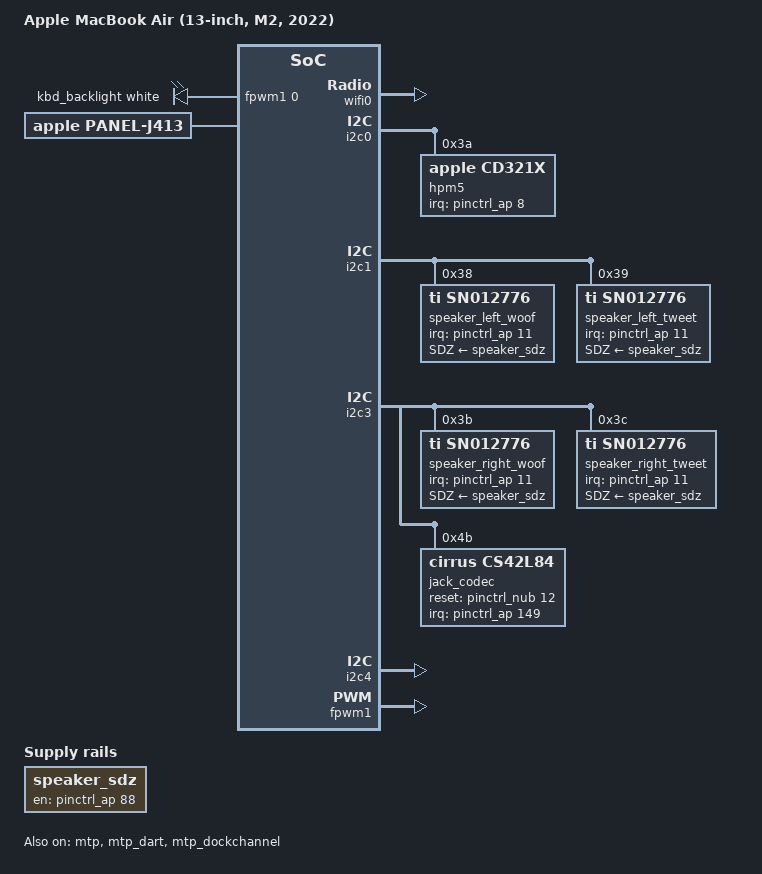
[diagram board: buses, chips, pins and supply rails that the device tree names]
// SPDX-License-Identifier: GPL-2.0+ OR MIT
/*
 * Apple MacBook Air (M2, 2022)
 *
 * target-type: J413
 *
 * Copyright The Asahi Linux Contributors
 */

/dts-v1/;

#include "t8112.dtsi"
#include "t8112-jxxx.dtsi"
#include <dt-bindings/leds/common.h>

/ {
	compatible = "apple,j413", "apple,t8112", "apple,arm-platform";
	model = "Apple MacBook Air (13-inch, M2, 2022)";

	aliases {
		bluetooth0 = &bluetooth0;
		wifi0 = &wifi0;
		keyboard = &keyboard;
	};

	led-controller {
		compatible = "pwm-leds";
		led-0 {
			pwms = <&fpwm1 0 40000>;
			label = "kbd_backlight";
			function = LED_FUNCTION_KBD_BACKLIGHT;
			color = <LED_COLOR_ID_WHITE>;
			max-brightness = <255>;
			default-state = "keep";
		};
	};
};

&dcp {
	panel: panel {
		compatible = "apple,panel-j413", "apple,panel";
		width-mm = <290>;
		height-mm = <189>;
		adj-height-mm = <181>;
		apple,max-brightness = <525>;
	};
};

&framebuffer0 {
	panel = &panel;
};

/*
 * Force the bus number assignments so that we can declare some of the
 * on-board devices and properties that are populated by the bootloader
 * (such as MAC addresses).
 */
&port00 {
	bus-range = <1 1>;
	pwren-gpios = <&smc_gpio 13 GPIO_ACTIVE_HIGH>;
	wifi0: wifi@0,0 {
		compatible = "pci14e4,4433";
		reg = <0x10000 0x0 0x0 0x0 0x0>;
		/* To be filled by the loader */
		local-mac-address = [00 10 18 00 00 10];
		apple,antenna-sku = "XX";
		brcm,board-type = "apple,hokkaido";
	};

	bluetooth0: bluetooth@0,1 {
		compatible = "pci14e4,5f71";
		reg = <0x10100 0x0 0x0 0x0 0x0>;
		/* To be filled by the loader */
		local-bd-address = [00 00 00 00 00 00];
		brcm,board-type = "apple,hokkaido";
	};
};

/*
 * Provide labels for the USB type C ports.
 */

&typec0 {
	label = "USB-C Left-back";
};

&typec1 {
	label = "USB-C Left-front";
};

&i2c0 {
	/* MagSafe port */
	hpm5: usb-pd@3a {
		compatible = "apple,cd321x";
		reg = <0x3a>;
		interrupt-parent = <&pinctrl_ap>;
		interrupts = <8 IRQ_TYPE_LEVEL_LOW>;
		interrupt-names = "irq";
	};
};

/* Virtual regulator representing the shared shutdown GPIO */
/ {
	speaker_sdz: fixed-regulator-sn012776-sdz {
		compatible = "regulator-fixed";
		regulator-name = "sn012776-sdz";
		startup-delay-us = <5000>;
		gpios = <&pinctrl_ap 88 GPIO_ACTIVE_HIGH>;
		enable-active-high;
	};
};

&i2c1 {
	speaker_left_woof: codec@38 {
		compatible = "ti,sn012776", "ti,tas2764";
		reg = <0x38>;
		SDZ-supply = <&speaker_sdz>;
		#sound-dai-cells = <0>;
		sound-name-prefix = "Left Woofer";
		interrupts-extended = <&pinctrl_ap 11 IRQ_TYPE_LEVEL_LOW>;
		ti,imon-slot-no = <0>;
		ti,vmon-slot-no = <2>;
		ti,sdout-force-zero-mask = <0xf0f0>;
	};

	speaker_left_tweet: codec@39 {
		compatible = "ti,sn012776", "ti,tas2764";
		reg = <0x39>;
		SDZ-supply = <&speaker_sdz>;
		#sound-dai-cells = <0>;
		sound-name-prefix = "Left Tweeter";
		interrupts-extended = <&pinctrl_ap 11 IRQ_TYPE_LEVEL_LOW>;
		ti,imon-slot-no = <8>;
		ti,vmon-slot-no = <10>;
	};
};

&i2c3 {
	speaker_right_woof: codec@3b {
		compatible = "ti,sn012776", "ti,tas2764";
		reg = <0x3b>;
		SDZ-supply = <&speaker_sdz>;
		#sound-dai-cells = <0>;
		sound-name-prefix = "Right Woofer";
		interrupts-extended = <&pinctrl_ap 11 IRQ_TYPE_LEVEL_LOW>;
		ti,imon-slot-no = <4>;
		ti,vmon-slot-no = <6>;
		ti,sdout-force-zero-mask = <0x0f0f>;
	};

	speaker_right_tweet: codec@3c {
		compatible = "ti,sn012776", "ti,tas2764";
		reg = <0x3c>;
		SDZ-supply = <&speaker_sdz>;
		#sound-dai-cells = <0>;
		sound-name-prefix = "Right Tweeter";
		interrupts-extended = <&pinctrl_ap 11 IRQ_TYPE_LEVEL_LOW>;
		ti,imon-slot-no = <12>;
		ti,vmon-slot-no = <14>;
	};

	jack_codec: codec@4b {
		compatible = "cirrus,cs42l84";
		reg = <0x4b>;
		reset-gpios = <&pinctrl_nub 12 GPIO_ACTIVE_HIGH>;
		#sound-dai-cells = <0>;
		interrupts-extended = <&pinctrl_ap 149 IRQ_TYPE_LEVEL_LOW>;
		sound-name-prefix = "Jack";
	};
};

&i2c4 {
	status = "okay";
};

&fpwm1 {
	status = "okay";
};

/ {
	sound {
		compatible = "apple,j413-macaudio", "apple,macaudio";
		model = "MacBook Air J413";

		dai-link@0 {
			link-name = "Speakers";

			cpu {
				sound-dai = <&mca 0>, <&mca 1>;
			};
			codec {
				sound-dai = <&speaker_left_woof>, <&speaker_left_tweet>,
					    <&speaker_right_woof>, <&speaker_right_tweet>;
			};
		};

		dai-link@1 {
			link-name = "Headphone Jack";

			cpu {
				sound-dai = <&mca 2>;
			};
			codec {
				sound-dai = <&jack_codec>;
			};
		};
	};
};

&mtp {
	status = "okay";
};
&mtp_mbox {
	status = "okay";
};
&mtp_dart {
	status = "okay";
};
&mtp_dockchannel {
	status = "okay";
};
&mtp_hid {
	apple,afe-reset-gpios = <&smc_gpio 8 GPIO_ACTIVE_LOW>;
	apple,stm-reset-gpios = <&smc_gpio 24 GPIO_ACTIVE_LOW>;

	multi-touch {
		firmware-name = "apple/tpmtfw-j413.bin";
	};

	keyboard: keyboard {
		hid-country-code = <0>;
		apple,keyboard-layout-id = <0>;
	};

	stm {
	};

	actuator {
	};

	tp_accel {
	};
};

#include "isp-imx558-cfg0.dtsi"

&isp {
	apple,platform-id = <14>;
	apple,temporal-filter = <1>;
};

#include "hwmon-laptop.dtsi"
